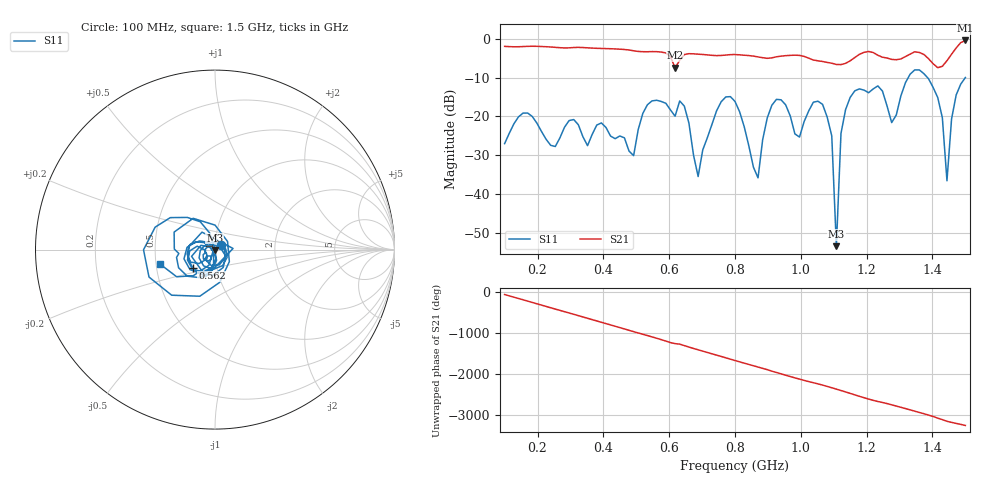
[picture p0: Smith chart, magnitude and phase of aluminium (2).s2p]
! NanoVNA-App
! Date: 2025-09-25 14:55:17
! Start: 100MHz Stop: 1,5GHz Points: 101
! S-Parameter data: F S11 S21 S12 S22
# Hz S RI R 50
!  Frequency  S11_Real  S11_Imag  S21_Real  S21_Imag  S12_Real  S12_Imag  S22_Real  S22_Imag
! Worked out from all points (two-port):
!   101 points, 100 MHz to 1.5 GHz, reference 50 ohm
!   highest |S21| = -0.40 dB at 1.5 GHz (marker M1); lowest = -7.4 dB at 618 MHz (marker M2)
!   |S21| within 3 dB of the highest: start of sweep to 576 MHz; 1.463 GHz to end of sweep (the widest 2 of 4)
!   lowest |S11| = -53.5 dB at 1.108 GHz (marker M3), VSWR 1.00, Z = 49.9 - j0.19 ohm
!   |S11| at or under -10 dB: start of sweep to 1.326 GHz; 1.385 GHz to 1.5 GHz (114.6 MHz wide, 7.95 % of centre)
!   S12 and S22 are empty: the file has one direction only
!   S11 on the Smith chart (normalised r, x): 100 MHz: 1.07, +0.06; 562 MHz: 0.76, -0.16; 1.5 GHz: 0.52, -0.09
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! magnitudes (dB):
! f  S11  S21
! 100 MHz  -27.0  -1.9
! 338 MHz  -25.3  -2.2
! 492 MHz  -30.1  -3.1
! 562 MHz  -15.8  -3.3
! 576 MHz  -16.1  -3.4
! 618 MHz  -19.9  -7.4
! 646 MHz  -17.3  -4.0
! 688 MHz  -35.5  -3.9
! 800 MHz  -16.1  -4.0
! 870 MHz  -35.8  -4.6
! 912 MHz  -17.1  -4.9
! 1.038 GHz  -16.3  -5.4
! 1.094 GHz  -25.0  -6.3
! 1.108 GHz  -53.5  -6.6
! 1.122 GHz  -24.4  -6.6
! 1.15 GHz  -15.1  -5.6
! 1.276 GHz  -21.6  -5.3
! 1.374 GHz  -9.0  -4.0
! 1.43 GHz  -20.3  -7.1
! 1.444 GHz  -36.6  -5.6
! 1.458 GHz  -20.6  -4.0
! 1.5 GHz  -10.0  -0.4
